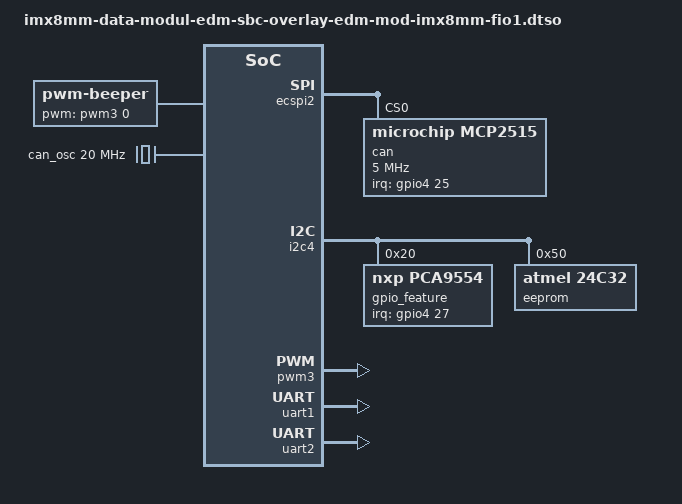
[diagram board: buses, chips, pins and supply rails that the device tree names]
// SPDX-License-Identifier: (GPL-2.0+ OR MIT)
/*
 * Copyright 2022-2026 Marek Vasut
 */
/dts-v1/;
/plugin/;

#include <dt-bindings/gpio/gpio.h>
#include <dt-bindings/interrupt-controller/arm-gic.h>

#include "imx8mm-pinfunc.h"

&{/} {
	beeper {
		compatible = "pwm-beeper";
		beeper-hz = <1000>;
		pwms = <&pwm3 0 250000 0>;
	};

	can_osc: can-osc {
		compatible = "fixed-clock";
		#clock-cells = <0>;
		clock-frequency = <20000000>;
	};
};

&ecspi2 {
	#address-cells = <1>;
	#size-cells = <0>;
	status = "okay";

	can@0 {
		compatible = "microchip,mcp2515";
		reg = <0>;
		pinctrl-names = "default";
		pinctrl-0 = <&pinctrl_can>;
		clocks = <&can_osc>;
		interrupts-extended = <&gpio4 25 IRQ_TYPE_LEVEL_LOW>;
		spi-max-frequency = <5000000>;
	};
};

&i2c4 {	/* Feature connector I2C */
	#address-cells = <1>;
	#size-cells = <0>;

	gpio_feature: io-expander@20 {
		compatible = "nxp,pca9554";
		pinctrl-names = "default";
		pinctrl-0 = <&pinctrl_gpio_expander>;
		reg = <0x20>;
		#gpio-cells = <2>;
		gpio-controller;
		#interrupt-cells = <2>;
		interrupt-controller;
		interrupt-parent = <&gpio4>;
		interrupts = <27 IRQ_TYPE_LEVEL_LOW>;
		gpio-line-names =
			"GPIO1_output", "GPIO1_input",
			"GPIO2_output", "GPIO2_input",
			"GPIO3_output", "GPIO3_input",
			"PCA9511A_READY", "";
	};

	eeprom@50 {
		compatible = "atmel,24c32";
		reg = <0x50>;
		pagesize = <32>;
	};
};

&iomuxc {
	pinctrl_can: can-feature-grp {
		fsl,pins = <
			/* CAN_INT# */
			MX8MM_IOMUXC_SAI2_TXC_GPIO4_IO25		0x400000d6
			/* CAN_RST# */
			MX8MM_IOMUXC_SAI2_TXD0_GPIO4_IO26		0x6
		>;
	};

	pinctrl_gpio_expander: gpio-expander-feature-grp {
		fsl,pins = <
			/* GPIO4_IO27 */
			MX8MM_IOMUXC_SAI2_MCLK_GPIO4_IO27		0x6
		>;
	};

	pinctrl_pwm3: pwm3-buzzer-feature-grp {
		fsl,pins = <
			/* Buzzer PWM output */
			MX8MM_IOMUXC_SPDIF_TX_PWM3_OUT			0x100
		>;
	};
};

&pinctrl_hog_feature {
	fsl,pins = <
		/* GPIO5_IO04 */
		MX8MM_IOMUXC_SPDIF_RX_GPIO5_IO4			0x6
	>;
};

&pwm3 {
	pinctrl-names = "default";
	pinctrl-0 = <&pinctrl_pwm3>;
	status = "okay";
};

&uart1 {	/* J500/J501 */
	status = "okay";
};

&uart2 {	/* RS485 J302/J303 */
	linux,rs485-enabled-at-boot-time;
	uart-has-rtscts;
	status = "okay";
};
